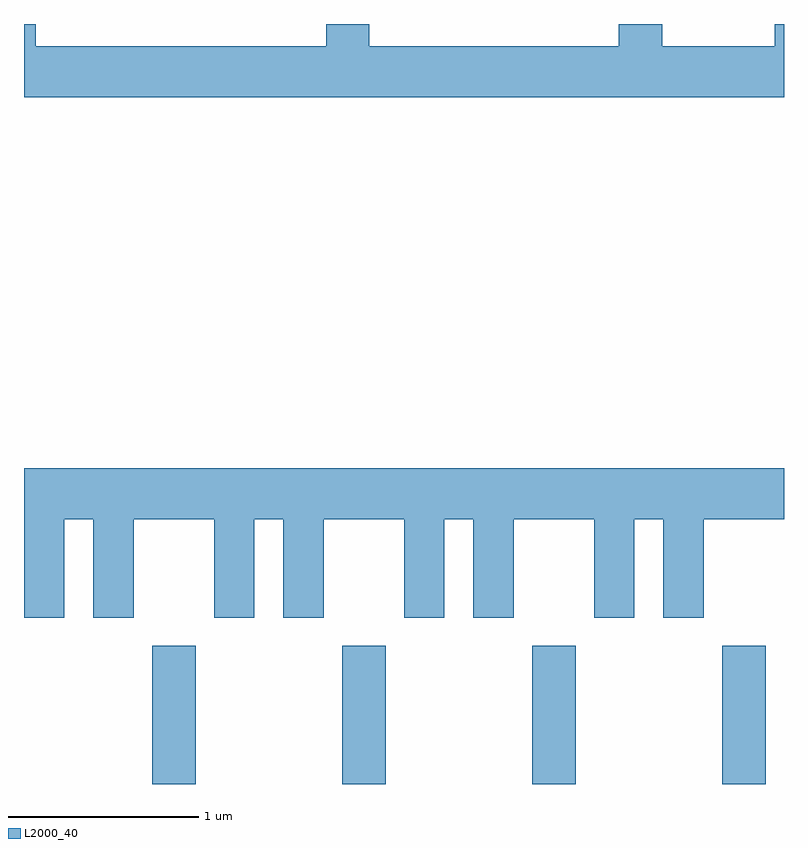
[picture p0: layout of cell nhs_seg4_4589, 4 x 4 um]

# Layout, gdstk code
import gdstk
lib = gdstk.Library(unit=1e-6, precision=1e-09)
def R(c, l, rs):  # rectangles x0, y0, x1, y1
    for r in rs: c.add(gdstk.rectangle(r[:2], r[2:], *l))
def A(c, l, x, y, w, h, nx, ny, dx, dy):  # array of equal rectangles
    R(c, l, [(x+i*dx, y+j*dy, x+i*dx+w, y+j*dy+h) for i in range(nx) for j in range(ny)])
def P(c, l, *ps):  # polygons
    for p in ps: c.add(gdstk.Polygon(p, *l))
L2000_40 = (2000, 40)

nhs_seg4_4589 = lib.new_cell('nhs_seg4_4589')
A(nhs_seg4_4589, L2000_40, 320.286, 1319.982, 0.228, 0.727, 4, 1, 1, 0)
P(nhs_seg4_4589, L2000_40, [(323.611,1323.982),(323.561,1323.982),(323.561,1323.864),(322.969,1323.864),(322.969,1323.982),(322.741,1323.982),(322.741,1323.864),(321.429,1323.864),(321.429,1323.982),(321.201,1323.982),(321.201,1323.864),(319.674,1323.864),(319.674,1323.982),(319.611,1323.982),(319.611,1323.596),(323.611,1323.596)],
  [(319.824,1321.376),(319.976,1321.376),(319.976,1320.856),(320.189,1320.856),(320.189,1321.376),(320.611,1321.376),(320.611,1320.856),(320.824,1320.856),(320.824,1321.376),(320.976,1321.376),(320.976,1320.856),(321.189,1320.856),(321.189,1321.376),(321.611,1321.376),(321.611,1320.856),(321.824,1320.856),(321.824,1321.376),(321.976,1321.376),(321.976,1320.856),(322.189,1320.856),(322.189,1321.376),(322.611,1321.376),(322.611,1320.856),(322.824,1320.856),(322.824,1321.376),(322.976,1321.376),(322.976,1320.856),(323.189,1320.856),(323.189,1321.376),(323.611,1321.376),(323.611,1321.644),(319.611,1321.644),(319.611,1320.856),(319.824,1320.856)])

lib.write_gds('nhs_seg4_4589.gds')
